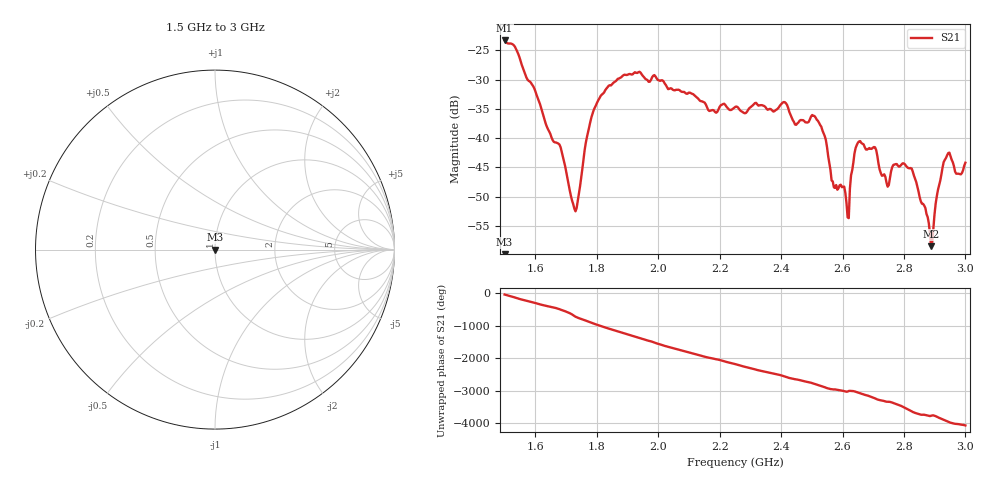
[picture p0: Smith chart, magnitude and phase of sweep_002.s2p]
# HZ S RI R 50
! BoneWave AI live acquisition
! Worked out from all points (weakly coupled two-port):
!   404 points, 1.5 GHz to 3 GHz, reference 50 ohm
!   highest |S21| = -23.33 dB at 1.5 GHz (marker M1); lowest = -58.5 dB at 2.888 GHz (marker M2)
!   lowest |S11| = - dB at 1.5 GHz (marker M3), VSWR 1.00, Z = 50 + j0 ohm
!   |S11| at or under -10 dB: start of sweep to end of sweep
!   S12 and S22 are empty: the file has one direction only
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1.5e9  0 0  0.0548 -0.0406  0 0  0 0
1.537221e9  0 0  -0.0437 -0.0375  0 0  0 0
1.67866e9  0 0  -0.00534 -0.00698  0 0  0 0
1.727047e9  0 0  0.00233 0.000907  0 0  0 0
1.753102e9  0 0  0.00102 -0.00537  0 0  0 0
1.7866e9  0 0  -0.0155 0.00519  0 0  0 0
1.834988e9  0 0  0.0269 0.00366  0 0  0 0
2.002481e9  0 0  -0.0158 -0.0268  0 0  0 0
2.169975e9  0 0  -0.0169 0.00297  0 0  0 0
2.251861e9  0 0  0.0173 -0.00659  0 0  0 0
2.501241e9  0 0  -0.00708 0.0141  0 0  0 0
2.538462e9  0 0  0.011 0.000514  0 0  0 0
2.57196e9  0 0  0.000734 -0.00372  0 0  0 0
2.612903e9  0 0  -0.00238 -0.00147  0 0  0 0
2.653846e9  0 0  -0.00931 0.000952  0 0  0 0
2.705955e9  0 0  0.00828 0.001  0 0  0 0
2.75062e9  0 0  -0.000458 -0.00394  0 0  0 0
2.769231e9  0 0  -0.0051 -0.00304  0 0  0 0
2.82134e9  0 0  0.00543 -0.00114  0 0  0 0
2.888337e9  0 0  -0.00117 -0.000235  0 0  0 0
2.936725e9  0 0  0.00548 0.00396  0 0  0 0
3e9  0 0  -0.00178 -0.0059  0 0  0 0
